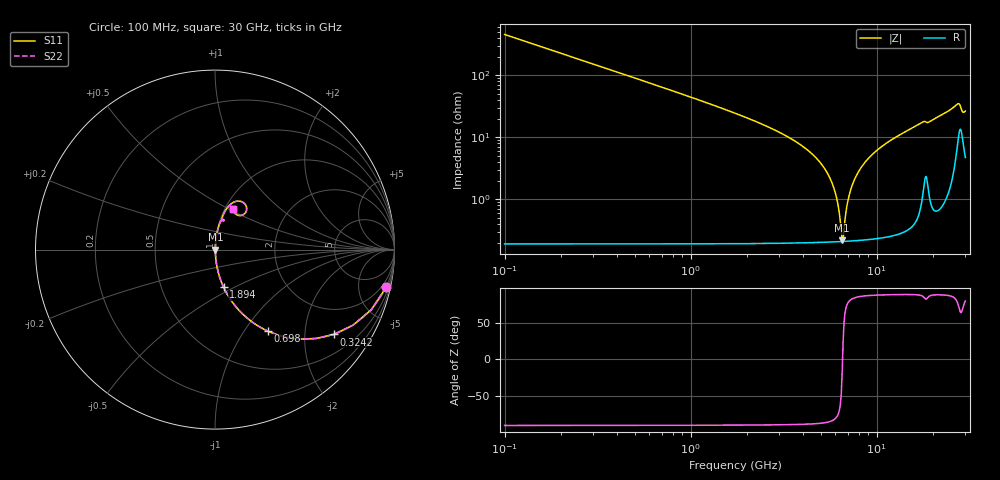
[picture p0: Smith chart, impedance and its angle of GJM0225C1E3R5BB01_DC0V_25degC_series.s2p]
!Murata Part Number: GJM0225C1E3R5BB01
!These Parameters are Measured in Series Mode Connection
!  o--ll--o
!Port1  Port2
!  o------o
!Operation Temp=25[degC], DC Bias Voltage=0[V]
!Freq. Start=100[MHz] Stop=30[GHz], 401[Steps]
!Data Generated on Feb 1, 2023
# Hz S RI R 50
!Freq.(Hz) S11(Real) S11(Imag) S21(Real) S21(Imag) S12(Real) S12(Imag) S22(Real) S22(Imag)
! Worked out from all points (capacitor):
!   401 points, 100 MHz to 30 GHz, reference 50 ohm
!   read as one part in series: C = 3.5 pF near 249.5 MHz
!   lowest |Z| = 218 mohm at 6.529 GHz (marker M1)
!   series resonance near 6.559 GHz, so ESL is about 170 pH
!   S11 on the Smith chart (normalised r, x): 100 MHz: 1.00, -9.09; 324.2 MHz: 1.00, -2.80; 698 MHz: 1.00, -1.29; 1.894 GHz: 1.00, -0.44; 30 GHz: 1.09, +0.52
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1e8  0.9538 -0.2098  0.0462 0.2098  0.0462 0.2098  0.9538 -0.2098
3.2425e8  0.6616 -0.4725  0.3384 0.4725  0.3384 0.4725  0.6616 -0.4725
6.98e8  0.2938 -0.454  0.7062 0.454  0.7062 0.454  0.2938 -0.454
1.1465e9  0.1301 -0.3339  0.8699 0.3339  0.8699 0.3339  0.1301 -0.3339
1.894e9  0.0479 -0.2092  0.9521 0.2092  0.9521 0.2092  0.0479 -0.2092
5.10825e9  0.00324 -0.0349  0.9968 0.0349  0.9968 0.0349  0.00324 -0.0349
5.9305e9  0.00224 -0.014  0.9978 0.014  0.9978 0.014  0.00224 -0.014
6.15475e9  0.00214 -0.00882  0.9979 0.00882  0.9979 0.00882  0.00214 -0.00882
6.45375e9  0.00208 -0.00224  0.9979 0.00224  0.9979 0.00224  0.00208 -0.00224
6.5285e9  0.00208 -0.000642  0.9979 0.000642  0.9979 0.000642  0.00208 -0.000642
6.678e9  0.00209 0.0025  0.9979 -0.0025  0.9979 -0.0025  0.00209 0.0025
6.90225e9  0.00214 0.00708  0.9979 -0.00708  0.9979 -0.00708  0.00214 0.00708
7.1265e9  0.00224 0.0115  0.9978 -0.0115  0.9978 -0.0115  0.00224 0.0115
7.64975e9  0.0026 0.0214  0.9974 -0.0214  0.9974 -0.0214  0.0026 0.0214
8.6215e9  0.00368 0.0385  0.9963 -0.0385  0.9963 -0.0385  0.00368 0.0385
1.01165e10  0.00621 0.0622  0.9938 -0.0622  0.9938 -0.0622  0.00621 0.0622
1.505e10  0.0207 0.1305  0.9793 -0.1305  0.9793 -0.1305  0.0207 0.1305
2.005825e10  0.0417 0.1826  0.9583 -0.1826  0.9583 -0.1826  0.0417 0.1826
2.50665e10  0.0868 0.2527  0.9132 -0.2527  0.9132 -0.2527  0.0868 0.2527
2.7907e10  0.1764 0.2292  0.8236 -0.2292  0.8236 -0.2292  0.1764 0.2292
2.89535e10  0.1274 0.1912  0.8726 -0.1912  0.8726 -0.1912  0.1274 0.1912
3e10  0.1008 0.2238  0.8992 -0.2238  0.8992 -0.2238  0.1008 0.2238
